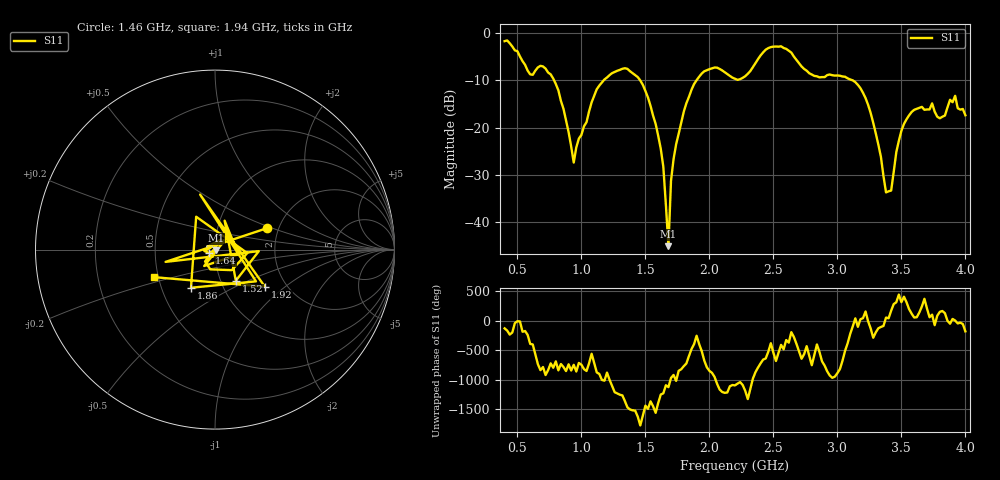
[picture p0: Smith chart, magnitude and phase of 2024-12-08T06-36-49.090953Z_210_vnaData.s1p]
!Created with skrf (http://scikit-rf.org).
# Hz S RI R 50.0
!freq ReS11 ImS11
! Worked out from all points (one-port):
!   181 points, 400 MHz to 4 GHz, reference 50 ohm
!   lowest |S11| = -45.1 dB at 1.68 GHz (marker M1), VSWR 1.01, Z = 50.4 - j0.408 ohm
!   |S11| at or under -10 dB: 786.7 MHz to 1.174 GHz (387.1 MHz wide, 39.5 % of centre); 1.46 GHz to 1.899 GHz (439.1 MHz wide, 26.1 % of centre); 3.121 GHz to end of sweep
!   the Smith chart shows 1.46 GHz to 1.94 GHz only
!   S11 on the Smith chart (normalised r, x): 1.46 GHz: 1.75, +0.47; 1.52 GHz: 1.18, -0.43; 1.64 GHz: 0.93, -0.03; 1.86 GHz: 0.70, -0.32; 1.92 GHz: 1.56, -0.73; 1.94 GHz: 0.47, -0.17
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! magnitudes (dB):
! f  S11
! 400 MHz  -1.7
! 600 MHz  -8.7
! 760 MHz  -8.7
! 860 MHz  -16.0
! 940 MHz  -27.4
! 1.12 GHz  -11.9
! 1.3 GHz  -7.8
! 1.46 GHz  -10.0
! 1.52 GHz  -13.6
! 1.64 GHz  -28.3
! 1.68 GHz  -45.1
! 1.7 GHz  -31.3
! 1.76 GHz  -21.3
! 1.86 GHz  -12.0
! 1.92 GHz  -9.2
! 1.94 GHz  -8.5
! 2.2 GHz  -9.6
! 2.48 GHz  -2.9
! 2.66 GHz  -5.0
! 3.1 GHz  -9.8
! 3.24 GHz  -15.2
! 3.38 GHz  -33.7
! 3.42 GHz  -33.3
! 3.48 GHz  -22.8
! 3.56 GHz  -17.4
! 3.8 GHz  -18.0
! 3.92 GHz  -13.3
! 4 GHz  -17.4
